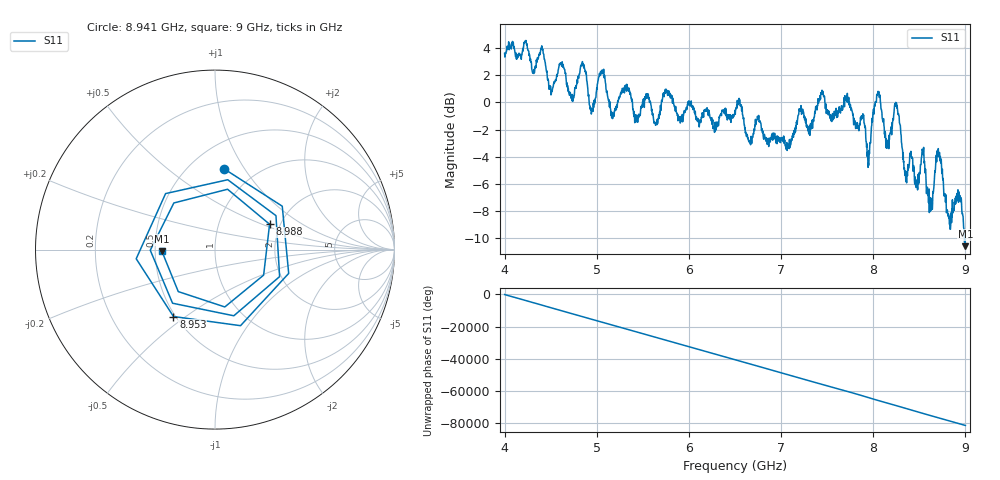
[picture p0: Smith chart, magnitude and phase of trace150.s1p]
! Created with skrf 1.8.0 (http://scikit-rf.org).
# Hz S RI R 50.0
!freq ReS11 ImS11
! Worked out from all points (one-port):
!   1601 points, 4 GHz to 9 GHz, reference 50 ohm
!   lowest |S11| = -10.6 dB at 9 GHz (marker M1), VSWR 1.84, Z = 27.2 - j0.56 ohm
!   |S11| at or under -10 dB: 8.989925 GHz to 8.992714 GHz (2.789 MHz wide, 0.031 % of centre); 8.995767 GHz to end of sweep
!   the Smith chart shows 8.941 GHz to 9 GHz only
!   S11 on the Smith chart (normalised r, x): 8.941 GHz: 0.72, +0.81; 8.953 GHz: 0.49, -0.45; 8.988 GHz: 1.76, +0.56; 9 GHz: 0.54, -0.01
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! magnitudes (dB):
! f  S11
! 4 GHz  3.6
! 4.403 GHz  4.2
! 4.503 GHz  0.6
! 4.625 GHz  3.0
! 4.731 GHz  0.1
! 4.853 GHz  2.8
! 4.944 GHz  -0.7
! 5.053 GHz  2.1
! 5.162 GHz  -1.1
! 5.25 GHz  0.4
! 5.875 GHz  -1.0
! 6.5 GHz  -0.6
! 7.125 GHz  -2.5
! 7.447 GHz  0.6
! 7.75 GHz  -0.2
! 7.947 GHz  -4.5
! 8.047 GHz  0.5
! 8.153 GHz  -3.3
! 8.253 GHz  -0.1
! 8.375 GHz  -4.6
! 8.544 GHz  -3.6
! 8.625 GHz  -7.0
! 8.706 GHz  -3.4
! 8.819 GHz  -8.5
! 8.941 GHz  -6.9
! 8.953 GHz  -7.2
! 8.988 GHz  -9.5
! 9 GHz  -10.6
